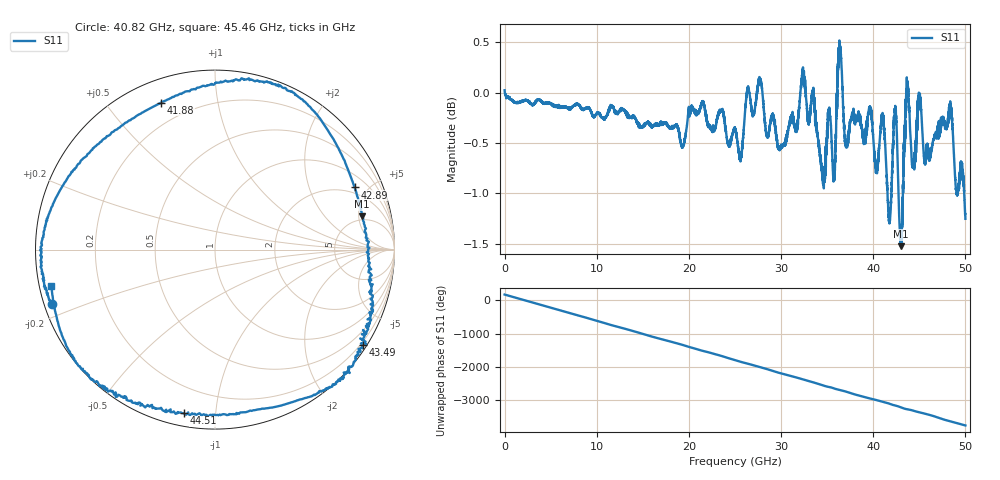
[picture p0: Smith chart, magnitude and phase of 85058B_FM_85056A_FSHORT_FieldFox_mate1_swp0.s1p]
!Created with skrf (http://scikit-rf.org).
# Hz S RI R 50.0
!freq ReS11 ImS11
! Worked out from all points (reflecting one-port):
!   10000 points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, 5.3 MHz to 50 GHz, reference 50 ohm
!   lowest |S11| = -1.5 dB at 42.99 GHz (marker M1), VSWR 11.41, Z = 219 + j275 ohm
!   phase of S11 starts at 180 deg and turns -3953 deg over the sweep
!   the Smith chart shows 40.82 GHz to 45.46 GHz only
!   S11 on the Smith chart (normalised r, x): 40.82 GHz: 0.02, -0.16; 41.88 GHz: 0.10, +0.69; 42.89 GHz: 1.62, +4.09; 43.49 GHz: 0.13, -3.41; 44.51 GHz: 0.06, -0.83; 45.46 GHz: 0.03, -0.11
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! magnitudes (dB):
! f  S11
! 5.3 MHz  0.0
! 6.255 GHz  -0.1
! 12.51 GHz  -0.2
! 18.76 GHz  -0.3
! 25.01 GHz  -0.4
! 27.68 GHz  0.1
! 29.83 GHz  -0.6
! 31.26 GHz  -0.3
! 32.41 GHz  0.1
! 34.55 GHz  -0.9
! 35.21 GHz  -0.2
! 35.72 GHz  -0.9
! 36.39 GHz  0.4
! 37 GHz  -0.5
! 37.51 GHz  -0.3
! 40.35 GHz  -0.7
! 40.82 GHz  -0.4
! 41.88 GHz  -1.2
! 42.39 GHz  -0.1
! 42.89 GHz  -1.4
! 42.99 GHz  -1.5
! 43.49 GHz  -0.2
! 43.76 GHz  0.0
! 44.51 GHz  -0.6
! 45 GHz  -0.1
! 45.46 GHz  -0.6
! 48.35 GHz  -0.1
! 50 GHz  -1.3
